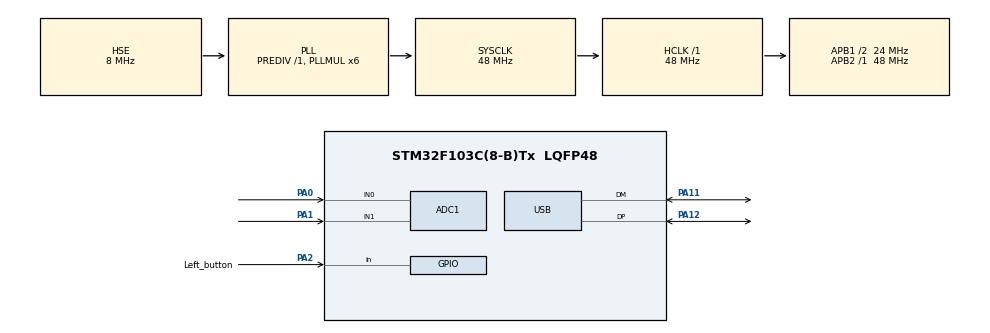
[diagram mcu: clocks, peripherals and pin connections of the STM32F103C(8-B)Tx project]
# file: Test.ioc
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ADC1.Channel-1\#ChannelRegularConversion=ADC_CHANNEL_0
ADC1.Channel-2\#ChannelRegularConversion=ADC_CHANNEL_1
ADC1.ContinuousConvMode=ENABLE
ADC1.NbrOfConversion=2
ADC1.NbrOfConversionFlag=1
ADC1.Rank-1\#ChannelRegularConversion=1
ADC1.Rank-2\#ChannelRegularConversion=2
ADC1.SamplingTime-1\#ChannelRegularConversion=ADC_SAMPLETIME_239CYCLES_5
ADC1.SamplingTime-2\#ChannelRegularConversion=ADC_SAMPLETIME_239CYCLES_5
ADC1.master=1
Dma.ADC1.0.Direction=DMA_PERIPH_TO_MEMORY
Dma.ADC1.0.Instance=DMA1_Channel1
Dma.ADC1.0.MemDataAlignment=DMA_MDATAALIGN_HALFWORD
Dma.ADC1.0.MemInc=DMA_MINC_ENABLE
Dma.ADC1.0.Mode=DMA_CIRCULAR
Dma.ADC1.0.PeriphDataAlignment=DMA_PDATAALIGN_HALFWORD
Dma.ADC1.0.PeriphInc=DMA_PINC_DISABLE
Dma.ADC1.0.Priority=DMA_PRIORITY_LOW
Dma.Request0=ADC1
Mcu.Family=STM32F1
Mcu.Name=STM32F103C(8-B)Tx
Mcu.Package=LQFP48
NVIC.DMA1_Channel1_IRQn=true\:0\:0\:false\:false\:true\:false\:true\:true
NVIC.PriorityGroup=NVIC_PRIORITYGROUP_4
NVIC.USB_LP_CAN1_RX0_IRQn=true\:0\:0\:false\:false\:true\:false\:true\:true
PA0-WKUP.Signal=ADCx_IN0
PA1.Signal=ADCx_IN1
PA11.Mode=Device
PA11.Signal=USB_DM
PA12.Mode=Device
PA12.Signal=USB_DP
PA13.Mode=Serial_Wire
PA13.Signal=SYS_JTMS-SWDIO
PA14.Mode=Serial_Wire
PA14.Signal=SYS_JTCK-SWCLK
PA2.GPIO_Label=Left_button
PA2.GPIO_PuPd=GPIO_PULLUP
PA2.Signal=GPIO_Input
PD0-OSC_IN.Mode=HSE-External-Oscillator
PD0-OSC_IN.Signal=RCC_OSC_IN
PD1-OSC_OUT.Mode=HSE-External-Oscillator
PD1-OSC_OUT.Signal=RCC_OSC_OUT
ProjectManager.HeapSize=0x200
ProjectManager.StackSize=0x400
ProjectManager.TargetToolchain=STM32CubeIDE
RCC.ADCPresc=RCC_ADCPCLK2_DIV4
RCC.AHBFreq_Value=48000000
RCC.APB1CLKDivider=RCC_HCLK_DIV2
RCC.APB1Freq_Value=24000000
RCC.APB1TimFreq_Value=48000000
RCC.APB2Freq_Value=48000000
RCC.APB2TimFreq_Value=48000000
RCC.HCLKFreq_Value=48000000
RCC.PLLMUL=RCC_PLL_MUL6
RCC.SYSCLKFreq_VALUE=48000000
RCC.SYSCLKSource=RCC_SYSCLKSOURCE_PLLCLK
RCC.USBFreq_Value=48000000
SH.ADCx_IN0.0=ADC1_IN0,IN0
SH.ADCx_IN1.0=ADC1_IN1,IN1
USB_DEVICE.CLASS_NAME_FS=HID
USB_DEVICE.VirtualMode=Hid
USB_DEVICE.VirtualModeFS=Hid_FS
VP_USB_DEVICE_VS_USB_DEVICE_HID_FS.Mode=HID_FS
board=custom

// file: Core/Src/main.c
/* USER CODE BEGIN Header */
/**
  ******************************************************************************
  * @file           : main.c
  * @brief          : Main program body
  ******************************************************************************
  * @attention
  *
  * Copyright (c) 2024 STMicroelectronics.
  * All rights reserved.
  *
  * This software is licensed under terms that can be found in the LICENSE file
  * in the root directory of this software component.
  * If no LICENSE file comes with this software, it is provided AS-IS.
  *
  ******************************************************************************
  */
/* USER CODE END Header */
#include "main.h"
#include "usb_device.h"

/* USER CODE BEGIN Includes */
#include "usbd_hid.h"
/* USER CODE END Includes */

/* USER CODE BEGIN PM */
uint8_t mouse_report[5];
uint16_t ADC_val[2];

/* USER CODE END PM */

ADC_HandleTypeDef hadc1;
DMA_HandleTypeDef hdma_adc1;

void SystemClock_Config(void);
static void MX_GPIO_Init(void);
static void MX_DMA_Init(void);
static void MX_ADC1_Init(void);
/* USER CODE BEGIN PFP */
extern USBD_HandleTypeDef hUsbDeviceFS;

/* USER CODE END PFP */

/* USER CODE BEGIN 0 */
long map(long x, long in_min, long in_max, long out_min, long out_max)
{
	long value;
	value = (x-in_min)*(out_max - out_min) / (in_max - in_min) + out_min;
	return value;
}
void Mouse_GetAction(void)
{
	static uint8_t button = 0;
	int8_t Xpos, Ypos = 0;
	if(HAL_GPIO_ReadPin(Left_button_GPIO_Port, Left_button_Pin) == 0)
	{
		button = 1;
	} else
	{
		button = 0;
	}
	Xpos = map(ADC_val[0],0,4136,-10,10);
	Ypos = map(ADC_val[1],0,3910,-10,10);
	mouse_report[0] = button;
	mouse_report[1] = Xpos;
	mouse_report[2] = Ypos;
	mouse_report[3] = 0;
	mouse_report[4] = 0;
}
/* USER CODE END 0 */

int main(void)
{

  /* MCU Configuration--------------------------------------------------------*/

  /* Reset of all peripherals, Initializes the Flash interface and the Systick. */
  HAL_Init();

  /* Configure the system clock */
  SystemClock_Config();

  /* Initialize all configured peripherals */
  MX_GPIO_Init();
  MX_DMA_Init();
  MX_USB_DEVICE_Init();
  MX_ADC1_Init();
  /* USER CODE BEGIN 2 */
  HAL_ADC_Start_DMA(&hadc1,(uint32_t*)ADC_val,2);
  /* USER CODE END 2 */

  /* Infinite loop */
  while (1)
  {

    /* USER CODE BEGIN 3 */
	  Mouse_GetAction();
	  USBD_HID_SendReport(&hUsbDeviceFS, (uint8_t *)mouse_report,5);
  }
  /* USER CODE END 3 */
}

void SystemClock_Config(void)
{
  RCC_OscInitTypeDef RCC_OscInitStruct = {0};
  RCC_ClkInitTypeDef RCC_ClkInitStruct = {0};
  RCC_PeriphCLKInitTypeDef PeriphClkInit = {0};

  /** Initializes the RCC Oscillators according to the specified parameters
  * in the RCC_OscInitTypeDef structure.
  */
  RCC_OscInitStruct.OscillatorType = RCC_OSCILLATORTYPE_HSE;
  RCC_OscInitStruct.HSEState = RCC_HSE_ON;
  RCC_OscInitStruct.HSEPredivValue = RCC_HSE_PREDIV_DIV1;
  RCC_OscInitStruct.HSIState = RCC_HSI_ON;
  RCC_OscInitStruct.PLL.PLLState = RCC_PLL_ON;
  RCC_OscInitStruct.PLL.PLLSource = RCC_PLLSOURCE_HSE;
  RCC_OscInitStruct.PLL.PLLMUL = RCC_PLL_MUL6;
  if (HAL_RCC_OscConfig(&RCC_OscInitStruct) != HAL_OK)
  {
    Error_Handler();
  }

  /** Initializes the CPU, AHB and APB buses clocks
  */
  RCC_ClkInitStruct.ClockType = RCC_CLOCKTYPE_HCLK|RCC_CLOCKTYPE_SYSCLK
                              |RCC_CLOCKTYPE_PCLK1|RCC_CLOCKTYPE_PCLK2;
  RCC_ClkInitStruct.SYSCLKSource = RCC_SYSCLKSOURCE_PLLCLK;
  RCC_ClkInitStruct.AHBCLKDivider = RCC_SYSCLK_DIV1;
  RCC_ClkInitStruct.APB1CLKDivider = RCC_HCLK_DIV2;
  RCC_ClkInitStruct.APB2CLKDivider = RCC_HCLK_DIV1;

  if (HAL_RCC_ClockConfig(&RCC_ClkInitStruct, FLASH_LATENCY_1) != HAL_OK)
  {
    Error_Handler();
  }
  PeriphClkInit.PeriphClockSelection = RCC_PERIPHCLK_ADC|RCC_PERIPHCLK_USB;
  PeriphClkInit.AdcClockSelection = RCC_ADCPCLK2_DIV4;
  PeriphClkInit.UsbClockSelection = RCC_USBCLKSOURCE_PLL;
  if (HAL_RCCEx_PeriphCLKConfig(&PeriphClkInit) != HAL_OK)
  {
    Error_Handler();
  }
}

static void MX_ADC1_Init(void)
{

  ADC_ChannelConfTypeDef sConfig = {0};

  /** Common config
  */
  hadc1.Instance = ADC1;
  hadc1.Init.ScanConvMode = ADC_SCAN_ENABLE;
  hadc1.Init.ContinuousConvMode = ENABLE;
  hadc1.Init.DiscontinuousConvMode = DISABLE;
  hadc1.Init.ExternalTrigConv = ADC_SOFTWARE_START;
  hadc1.Init.DataAlign = ADC_DATAALIGN_RIGHT;
  hadc1.Init.NbrOfConversion = 2;
  if (HAL_ADC_Init(&hadc1) != HAL_OK)
  {
    Error_Handler();
  }

  /** Configure Regular Channel
  */
  sConfig.Channel = ADC_CHANNEL_0;
  sConfig.Rank = ADC_REGULAR_RANK_1;
  sConfig.SamplingTime = ADC_SAMPLETIME_239CYCLES_5;
  if (HAL_ADC_ConfigChannel(&hadc1, &sConfig) != HAL_OK)
  {
    Error_Handler();
  }

  /** Configure Regular Channel
  */
  sConfig.Channel = ADC_CHANNEL_1;
  sConfig.Rank = ADC_REGULAR_RANK_2;
  if (HAL_ADC_ConfigChannel(&hadc1, &sConfig) != HAL_OK)
  {
    Error_Handler();
  }

}

static void MX_DMA_Init(void)
{

  /* DMA controller clock enable */
  __HAL_RCC_DMA1_CLK_ENABLE();

  /* DMA interrupt init */
  /* DMA1_Channel1_IRQn interrupt configuration */
  HAL_NVIC_SetPriority(DMA1_Channel1_IRQn, 0, 0);
  HAL_NVIC_EnableIRQ(DMA1_Channel1_IRQn);

}

static void MX_GPIO_Init(void)
{
  GPIO_InitTypeDef GPIO_InitStruct = {0};

  /* GPIO Ports Clock Enable */
  __HAL_RCC_GPIOD_CLK_ENABLE();
  __HAL_RCC_GPIOA_CLK_ENABLE();

  /*Configure GPIO pin : Left_button_Pin */
  GPIO_InitStruct.Pin = Left_button_Pin;
  GPIO_InitStruct.Mode = GPIO_MODE_INPUT;
  GPIO_InitStruct.Pull = GPIO_PULLUP;
  HAL_GPIO_Init(Left_button_GPIO_Port, &GPIO_InitStruct);

}

void Error_Handler(void)
{
  __disable_irq();
  while (1)
  {
  }
}
